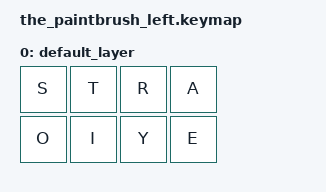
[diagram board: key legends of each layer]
#include <behaviors.dtsi>
#include <dt-bindings/zmk/keys.h>
#include <dt-bindings/zmk/bt.h>

#define KEY_IT 3
#define KEY_MT 2
#define KEY_RT 1
#define KEY_PT 0

#define KEY_IB 7
#define KEY_MB 6
#define KEY_RB 5
#define KEY_PB 4

/ {
    keymap {
        compatible = "zmk,keymap";
        default_layer {
            bindings = <
                &kp S &kp T &kp R &kp A
                &kp O &kp I &kp Y &kp E
            >;
        };
    };
};

